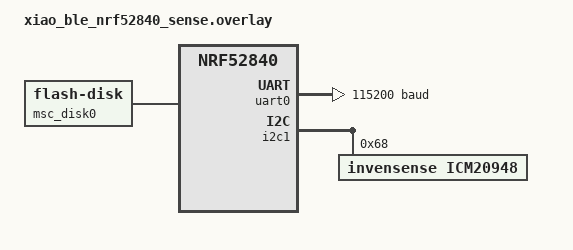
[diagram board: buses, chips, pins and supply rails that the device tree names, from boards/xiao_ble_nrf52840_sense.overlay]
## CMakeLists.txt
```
# SPDX-License-Identifier: Apache-2.0

cmake_minimum_required(VERSION 3.20.0)
find_package(Zephyr REQUIRED HINTS $ENV{ZEPHYR_BASE})
project(raket_fw)

include(${ZEPHYR_BASE}/samples/subsys/usb/common/common.cmake)

add_subdirectory(drivers/tdk/icm20948)
include_directories(drivers/tdk/icm20948)
include_directories(src/lib)
FILE(GLOB app_sources src/*.c src/lib/imu.c src/lib/mass_storage_device.c src/lib/ble.c src/lib/led.c)
target_sources(app PRIVATE ${app_sources})

if(CONFIG_BUILD_WITH_TFM)
  target_include_directories(app PRIVATE
    $<TARGET_PROPERTY:tfm,TFM_BINARY_DIR>/api_ns/interface/include
  )
endif()
```

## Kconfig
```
# Copyright (c) 2019-2020 Nordic Semiconductor ASA
# SPDX-License-Identifier: Apache-2.0

menu "MSC sample options"

config APP_WIPE_STORAGE
	bool "Option to clear the flash area before mounting"
	help
	  Use this to force an existing file system to be created.

choice
	prompt "Storage and file system type used by the application"
	default APP_MSC_STORAGE_NONE
	help
	  Specify the type of storage and file system.

config APP_MSC_STORAGE_NONE
	bool "Use RAM disk as block device"

config APP_MSC_STORAGE_RAM
	bool "Use RAM disk and FAT file system"
	imply FILE_SYSTEM
	imply FAT_FILESYSTEM_ELM

config APP_MSC_STORAGE_FLASH_FATFS
	bool "Use FLASH disk and FAT file system"
	imply DISK_DRIVER_FLASH
	imply FILE_SYSTEM
	imply FAT_FILESYSTEM_ELM

config APP_MSC_STORAGE_FLASH_LITTLEFS
	bool "Use FLASH disk and LittleFS"
	imply DISK_DRIVER_FLASH
	imply FILE_SYSTEM
	imply FILE_SYSTEM_LITTLEFS

config APP_MSC_STORAGE_SDCARD
	bool "Use SDHC and FAT file system"
	imply DISK_DRIVER_SDMMC
	imply FILE_SYSTEM
	imply FAT_FILESYSTEM_ELM

endchoice

config MASS_STORAGE_DISK_NAME
	default "NAND" if DISK_DRIVER_FLASH
	default "RAM" if DISK_DRIVER_RAM
	default "SD" if DISK_DRIVER_SDMMC

if DISK_DRIVER_FLASH

config FLASH_MAP
	default y

config FLASH_PAGE_LAYOUT
	default y

config FLASH_LOG_LEVEL
	default 3

if NORDIC_QSPI_NOR

config NORDIC_QSPI_NOR_FLASH_LAYOUT_PAGE_SIZE
	default 4096

endif # NORDIC_QSPI_NOR

endif # DISK_DRIVER_FLASH

endmenu

# Source common USB sample options used to initialize new experimental USB
# device stack. The scope of these options is limited to USB samples in project
# tree, you cannot use them in your own application.
source "samples/subsys/usb/common/Kconfig.sample_usbd"
rsource "drivers/Kconfig"
source "Kconfig.zephyr"
```

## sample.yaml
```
sample:
  name: Coding Pirates Rocket Logger
  min_ram: 32
```

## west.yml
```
manifest:
  remotes:
    - name: zephyrproject-rtos
      url-base: https://github.com/zephyrproject-rtos
  projects:
    - name: zephyr
      remote: zephyrproject-rtos
      revision: v4.0.0
      import: true
```

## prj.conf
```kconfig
CONFIG_POSIX_API=y

CONFIG_STDOUT_CONSOLE=y
CONFIG_I2C=y
CONFIG_SENSOR=y
CONFIG_CBPRINTF_FP_SUPPORT=y
CONFIG_NEWLIB_LIBC=y

#USB related configs
# CONFIG_SPI_NOR_SFDP_RUNTIME=y
# CONFIG_USBD_MSC_SCSI_BUFFER_SIZE=4096
# # CONFIG_USB_DEVICE_STACK_NEXT=y
# CONFIG_USB_DEVICE_STACK=y
# CONFIG_USB_DEVICE_PRODUCT="Zephyr MSC sample"
# CONFIG_MASS_STORAGE_STACK_SIZE=4096
# CONFIG_USB_DEVICE_PID=0x0008
# CONFIG_USB_MASS_STORAGE=y
# CONFIG_USB_DEVICE_INITIALIZE_AT_BOOT=n
# CONFIG_APP_MSC_STORAGE_FLASH_FATFS=y

CONFIG_DISK_ACCESS=y
CONFIG_FILE_SYSTEM=y
CONFIG_FAT_FILESYSTEM_ELM=y
CONFIG_PRINTK=y
CONFIG_MAIN_STACK_SIZE=2048

CONFIG_DISK_DRIVERS=y
CONFIG_DISK_DRIVER_FLASH=y

CONFIG_NORDIC_QSPI_NOR=y
CONFIG_FLASH=y
CONFIG_FLASH_MAP=y
CONFIG_FS_FATFS_LFN=y

## ICM20948
CONFIG_ICM20948=y
CONFIG_LOG=y
CONFIG_LOG_DEFAULT_LEVEL=3
CONFIG_I2C_LOG_LEVEL_DBG=y

# Bluetooth
CONFIG_BT=y
CONFIG_BT_PERIPHERAL=y
CONFIG_BT_DEVICE_NAME="CP Rocket 1"
CONFIG_BT_GATT_CLIENT=y

# Power Control
CONFIG_POWEROFF=y
```

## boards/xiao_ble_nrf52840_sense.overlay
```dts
/*
 * Copyright (c) 2020 Teslabs Engineering S.L.
 *
 * SPDX-License-Identifier: Apache-2.0
 */

/delete-node/ &storage_partition;

&uart0 {
	compatible = "nordic,nrf-uarte";
	status = "okay";
	current-speed = <115200>;
	pinctrl-0 = <&uart0_default>;
	pinctrl-1 = <&uart0_sleep>;
	pinctrl-names = "default", "sleep";
};

&p25q16h {
	partitions {
		compatible = "fixed-partitions";
		#address-cells = <1>;
		#size-cells = <1>;

		storage_partition: partition@0 {
			label = "storage";
			reg = <0x00000000 0x00200000>;
		};
	};
};

/ {
	msc_disk0 {
		compatible = "zephyr,flash-disk";
		partition = <&storage_partition>;
		disk-name = "NAND";
		cache-size = <65536>;
	};

	aliases {
		my-icm20948 = &icm20948;
	};
};

&i2c1 {
	status = "okay";
	icm20948: icm20948@68 {
		status = "okay";
		compatible = "invensense,icm20948";
		reg = <0x68>;
		label = "ICM20948";
		accel-fs = <0>; /* ICM20948_ACCEL_FS_SEL_2G */
		accel-hz = <9>; /* Index into your sample rate divider array */
		accel-fchoice = <0>;
		accel-lpf = <0>;
		gyro-fs = <0>; /* ICM20948_GYRO_FS_250 */
		gyro-hz = <9>; /* Index into your sample rate divider array */
		gyro-fchoice = <0>;
		gyro-lpf = <0>;
		mag-freq = <0>;
		gyro-sample-rate-div = <9>; /* Example value for gyro sample rate divider */
		accel-sample-rate-div = <9>; /* Example value for accel sample rate divider */
	};
};

&spi2 {
	status = "disabled";
};

&pwm0 {
	status = "disabled";
};

&adc {
	status = "disabled";
};
```

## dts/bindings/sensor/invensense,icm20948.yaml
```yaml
#  Copyright (c) 2023, Lazaro O'Farrill
#  email: lazaroofarrill@gmail.com
# SPDX-License-Identifier: Apache-2.0

description: |
  ICM20948 Motion sensor by invensense

compatible: "invensense,icm20948"

include: [sensor-device.yaml, i2c-device.yaml]

properties:
  reg:
    required: true
  int-gpios:
    type: phandle-array
    description: |
      The INT signal default configuration is active-high. The
      property value should ensure the flags properly describe the
      signal that is presented to the driver.

  accel-fchoice:
    type: int
    description: |
      Toggle accelerometer filter in low-power mode.
      Maps to ACCEL_FCHOICE field in ACCEL_CONFIG.
    default: 0
    enum: [0, 1]

  accel-lpf:
    type: int
    description: |
      Low pass filter configuration for accelerometer.
      Maps to ACCEL_DLPFCFG field in ACCEL_CONFIG.
    default: 0
    enum: [0, 1, 2, 3, 4, 5, 6, 7]

  accel-hz:
    type: int  # Changed to int for index
    description: |
      Index into the accelerometer sample rate divider table.
      Determines the accelerometer output data rate.
      See the driver for the table mapping.
    default: 9 # Example default value
    enum: [0, 1, 2, 3, 4, 5, 6, 7, 8, 9, 10, 11] # Example enum values

  gyro-fchoice:
    type: int
    description: |
      Toggle gyroscope filter in low-power mode.
      Maps to GYRO_FCHOICE field in GYRO_CONFIG_1.
    default: 0
    enum: [0, 1]

  gyro-lpf:
    type: int
    description: |
      Low pass filter configuration for gyroscope.
      Maps to DLPF_CFG field in GYRO_CONFIG_1.
    default: 0
    enum: [0, 1, 2, 3, 4, 5, 6, 7]

  gyro-hz:
    type: int  # Changed to int for index
    description: |
      Index into the gyroscope sample rate divider table.
      Determines the gyroscope output data rate.
      See the driver for the table mapping.
    default: 9 # Example default value
    enum: [0, 1, 2, 3, 4, 5, 6, 7, 8, 9, 10, 11, 12, 13, 14, 15] # Example enum values

  accel-fs:
    type: int
    description: |
      Accelerometer full-scale range. (Units: g)
      Maps to ACCEL_FS_SEL field in ACCEL_CONFIG.
    default: 0
    enum: [0, 1, 2, 3] # Indexes for 2, 4, 8, 16g ranges

  gyro-fs:
    type: int
    description: |
      Gyroscope full-scale range. (Units: dps)
      Maps to GYRO_FS_SEL field in GYRO_CONFIG_1.
    default: 0
    enum: [0, 1, 2, 3] # Indexes for 250, 500, 1000, 2000 dps ranges

  mag-freq:
    type: int
    description: |
      Magnetometer operation mode.
      Maps to AK09916 CNTL2 register.
    default: 0
    enum: [0, 1, 2, 3] # Indexes for different continuous measurement modes

  gyro-sample-rate-div:
    type: int
    description: |
      Gyroscope sample rate divider.
      Maps directly to GYRO_SMPLRT_DIV register.
    default: 9

  accel-sample-rate-div:
    type: int
    description: |
      Accelerometer sample rate divider.
      Maps directly to ACCEL_SMPLRT_DIV_1 and ACCEL_SMPLRT_DIV_2 registers.
    default: 9
```

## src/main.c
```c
/*
 * Copyright (c) 2018 STMicroelectronics
 *
 * SPDX-License-Identifier: Apache-2.0
 */

#include <fcntl.h>
#include <stddef.h>
#include <stdio.h>
#include <unistd.h>

#include <zephyr/kernel.h>
#include <zephyr/logging/log.h>
#include <zephyr/storage/disk_access.h>
#include <zephyr/storage/flash_map.h>
#include <zephyr/sys/poweroff.h>
#include <zephyr/usb/usb_device.h>
#include <zephyr/usb/usbd.h>

#include "ble.h"
#include "imu.h"
#include "led.h"
#include "mass_storage_device.h"

LOG_MODULE_REGISTER(main, LOG_LEVEL_INF);

/* State Management */
#define SYSTEM_IDLE 1
#define SYSTEM_LOGGING 2
#define SYSTEM_STOP_LOGGING 3
#define SYSTEM_OFF 4

/* Filename Management */
#define MAX_FILENAME_SIZE 128
char filename[MAX_FILENAME_SIZE];

/* Buffer for File Writing */
#define WRITE_BUFFER_SIZE 4096
static char write_buffer[WRITE_BUFFER_SIZE];
static size_t buffer_pos = 0;

/* System State Variables */
int print_samples;
extern struct fs_mount_t fs_mnt;
int requested_state;
int current_state = SYSTEM_IDLE; // Start in IDLE state

/* Function Declarations */
void flush_buffer(struct fs_file_t *file);
void disable_usb_mass_storage(void);

/* --- Function Implementations --- */

void flush_buffer(struct fs_file_t *file) {
  if (buffer_pos > 0) {
    int ret = fs_write(file, write_buffer, buffer_pos);
    if (ret < 0) {
      LOG_ERR("Write failed: %d", ret);
    }
    ret = fs_sync(file);
    if (ret < 0) {
      LOG_ERR("Sync failed: %d", ret);
    }
    buffer_pos = 0;
  }
}

void disable_usb_mass_storage(void) { usb_disable(); }

static int start_logging(struct fs_file_t *file, char *file_path) {
  struct fs_dir_t dir;

  fs_dir_t_init(&dir);
  fs_opendir(&dir, fs_mnt.mnt_point);

  fs_mount(&fs_mnt);
  int base = strlen(DISK_MOUNT_PT);
  strncpy(file_path, DISK_MOUNT_PT, 128); // Ensure size limit is respected
  file_path[base++] = '/';
  file_path[base] = 0;
  strcat(&file_path[base], filename);

  fs_file_t_init(file);
  if (fs_open(file, file_path, FS_O_CREATE | FS_O_RDWR | FS_O_APPEND) != 0) {
    LOG_ERR("Failed to create file %s", file_path);
    return -EIO;
  } else {
    LOG_INF("Opened file %s for logging", file_path);

    /* Write header to file */
    char header[] = "acc_x,acc_y,acc_z,gyro_x,gyro_y,gyro_z,magn_x,magn_y,magn_"
                    "z\n"; // Include magnetometer
    size_t len = strlen(header);
    if (buffer_pos + len >= WRITE_BUFFER_SIZE) {
      flush_buffer(file);
    }
    memcpy(write_buffer + buffer_pos, header, len);
    buffer_pos += len;
    flush_buffer(file);
    return 0;
  }
}

static int stop_logging(struct fs_file_t *file, char *file_path) {
  flush_buffer(file);
  int ret = fs_close(file);
  if (ret < 0) {
    LOG_ERR("FAIL: close %s: %d", file_path, ret);
    return ret;
  } else {
    LOG_INF("Closed file %s", file_path);
  }

  fs_unmount(&fs_mnt);

  ret = usb_enable(NULL);
  if (ret != 0) {
    LOG_ERR("Failed to enable USB");
    return ret;
  }
  return 0;
}

int main(void) {
  struct fs_file_t file;
  char file_path[128];

  double accel_x_out, accel_y_out, accel_z_out, gyro_x_out, gyro_y_out,
      gyro_z_out;
  double magn_x_out, magn_y_out, magn_z_out; // Magnetometer
  int ret;

  /* Initialize Subsystems */
  LOG_INF("Starting application");

  /* Initialize filename (default) */
  strncpy(filename, "IMU_DATA.csv",
          MAX_FILENAME_SIZE); // Ensure filename is initialized

  ret = init_imu_sensor();
  if (ret) {
    LOG_ERR("Failed to initialize IMU sensor\n");
    return ret;
  }

  led_init();

  ret = bt_enable(bt_ready);
  if (ret) {
    LOG_ERR("Bluetooth init failed (err %d)", ret);
    return ret;
  }

  ret = setup_disk();
  if (ret) {
    LOG_ERR("Failed to setup disk\n");
    return ret;
  }

  /* Start in USB mass storage mode */
  k_sleep(K_MSEC(500));
  LOG_INF("The device is put in USB mass storage mode.\n");
  ret = usb_enable(NULL);
  if (ret != 0) {
    LOG_ERR("Failed to enable USB");
    return 0;
  }

  /* Main Loop */
  while (1) {
    /* State Transitions */
    if (requested_state != current_state) {
      LOG_INF("State change requested from %d to %d", current_state,
              requested_state);

      if (current_state == SYSTEM_LOGGING) {
        ret = stop_logging(&file, file_path);
        if (ret) {
          LOG_ERR("Failed to stop logging\n");
        }
      }

      if (requested_state == SYSTEM_LOGGING) {
        disable_usb_mass_storage();
        ret = start_logging(&file, file_path);
        if (ret) {
          LOG_ERR("Failed to start logging\n");
        }

        /* Calibrate the sensors */
        calibrate_accelerometer(1000); // Take 1000 samples for calibration
        calibrate_gyroscope(1000);
      }
      current_state = requested_state;
    }

    /* State Actions */
    if (current_state == SYSTEM_IDLE) {
      // "Idle state"
      led_update(BLUE_LED, true);
      k_sleep(K_MSEC(200));
      led_update(BLUE_LED, false);
      k_sleep(K_MSEC(2500));
    } else if (current_state == SYSTEM_LOGGING) {
      // "Starting Logging"
      get_imu_values(&accel_x_out, &accel_y_out, &accel_z_out, &gyro_x_out,
                     &gyro_y_out, &gyro_z_out, &magn_x_out, &magn_y_out,
                     &magn_z_out); // Get magnetometer

      size_t len = snprintf(
          (char *)write_buffer + buffer_pos, WRITE_BUFFER_SIZE - buffer_pos,
          "%.2f,%.2f,%.2f,%.2f,%.2f,%.2f,%.2f,%.2f,%.2f\n", accel_x_out,
          accel_y_out, accel_z_out, gyro_x_out, gyro_y_out, gyro_z_out,
          magn_x_out, magn_y_out, magn_z_out);

      if (buffer_pos + len >= WRITE_BUFFER_SIZE) {
        flush_buffer(&file);
      }
      buffer_pos += len;

      // Periodic sync every 32 writes
      static uint32_t write_count = 0;
      if (++write_count >= 32) {
        flush_buffer(&file);
        write_count = 0;
      }
      led_log_light();
      k_sleep(K_MSEC(10));
    } else if (current_state == SYSTEM_STOP_LOGGING) {
      // "Stop Logging"
      led_update(GREEN_LED, true);
      k_sleep(K_MSEC(200));
      led_update(GREEN_LED, false);
      k_sleep(K_MSEC(2500));
    } else if (current_state == SYSTEM_OFF) {
      // "Stop Logging"
      led_update(RED_LED, true);
      k_sleep(K_MSEC(500));
      led_update(GREEN_LED, true);
      k_sleep(K_MSEC(500));
      led_update(RED_LED, false);
      k_sleep(K_MSEC(500));
      led_update(BLUE_LED, true);
      k_sleep(K_MSEC(500));
      led_update(GREEN_LED, false);
      k_sleep(K_MSEC(500));
      led_update(RED_LED, true);
      k_sleep(K_MSEC(500));
      led_update(RED_LED, false);
      led_update(BLUE_LED, false);
      sys_poweroff();
    }
  }

  return 0;
}
```
